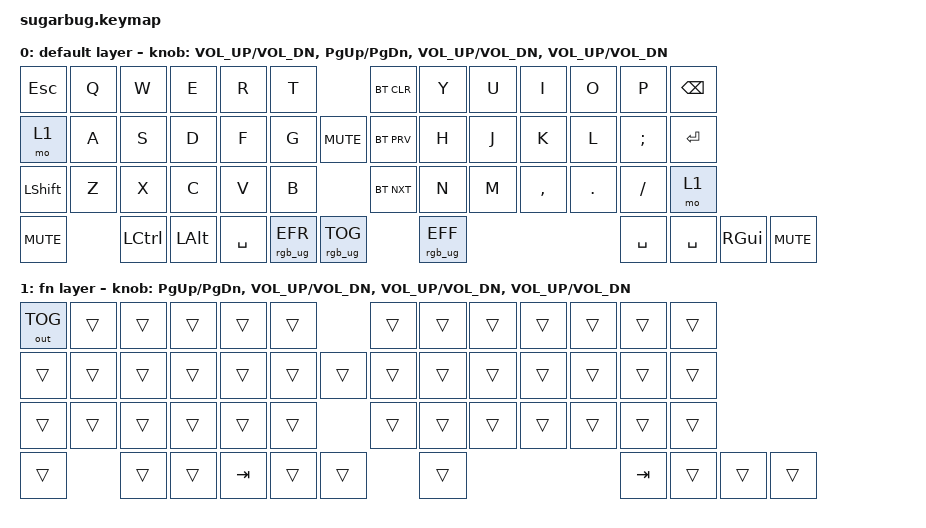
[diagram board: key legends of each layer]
/*
 * Copyright (c) 2022 The ZMK Contributors
 *
 * SPDX-License-Identifier: MIT
 */

#include <behaviors.dtsi>
#include <dt-bindings/zmk/keys.h>
#include <dt-bindings/zmk/bt.h>
#include <dt-bindings/zmk/rgb.h>
#include <dt-bindings/zmk/ext_power.h>
#include <dt-bindings/zmk/outputs.h>

#define TIMEOUT 10

&encoder_1 {
    status = "okay";
};

&encoder_2 {
    status = "okay";
};

&encoder_3 {
    status = "okay";
};

&encoder_4 {
    status = "okay";
};

/ {

    sensors {
        compatible = "zmk,keymap-sensors";
        sensors = <&encoder_1 &encoder_2 &encoder_3 &encoder_4>;
    };


    keymap0: keymap {
        compatible = "zmk,keymap";

        default_layer {
            label = "default layer";
            bindings = <
                &kp ESC   &kp Q   &kp W     &kp E     &kp R     &kp T                        &bt BT_CLR &kp Y     &kp U     &kp I     &kp O    &kp P    &kp BSPC 
                &mo 1     &kp A   &kp S     &kp D     &kp F     &kp G             &kp C_MUTE &bt BT_PRV &kp H     &kp J     &kp K     &kp L    &kp SEMI &kp ENTER
                &kp LSHFT &kp Z   &kp X     &kp C     &kp V     &kp B                        &bt BT_NXT &kp N     &kp M     &kp COMMA &kp DOT  &kp FSLH &mo 1
                &kp C_MUTE        &kp LCTRL &kp LALT  &kp SPACE       &rgb_ug RGB_EFR &rgb_ug RGB_TOG &rgb_ug RGB_EFF                      &kp SPACE &kp SPACE &kp RGUI          &kp C_MUTE
            >;
            sensor-bindings = <&inc_dec_kp C_VOL_UP C_VOL_DN &inc_dec_kp PG_UP PG_DN &inc_dec_kp C_VOL_UP C_VOL_DN &inc_dec_kp C_VOL_UP C_VOL_DN>;

        }; 
        
        fn_layer {
            label = "fn layer";
            bindings = <
                &out OUT_TOG &trans &trans &trans &trans &trans               &trans &trans &trans &trans &trans &trans &trans
                &trans &trans &trans &trans &trans &trans        &trans &trans &trans &trans &trans &trans &trans &trans
                &trans &trans &trans &trans &trans &trans               &trans &trans &trans &trans &trans &trans &trans
                            &trans &trans &trans &kp TAB &trans &trans &trans &kp TAB &trans &trans &trans
            >;  
            sensor-bindings = <&inc_dec_kp PG_UP PG_DN &inc_dec_kp C_VOL_UP C_VOL_DN &inc_dec_kp C_VOL_UP C_VOL_DN &inc_dec_kp C_VOL_UP C_VOL_DN>;
                
        };
    };
};
